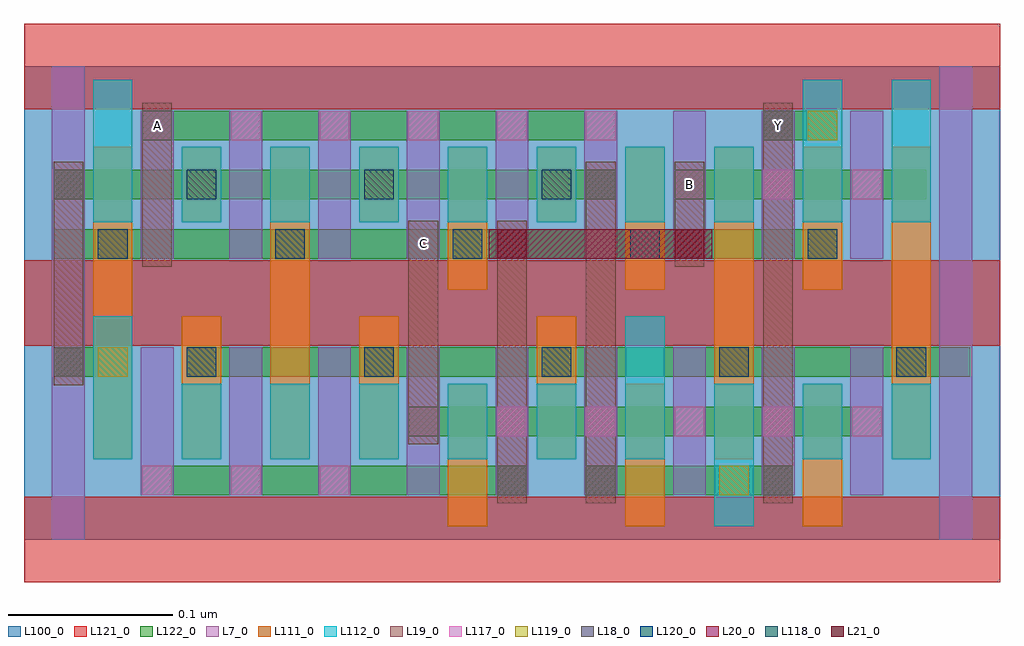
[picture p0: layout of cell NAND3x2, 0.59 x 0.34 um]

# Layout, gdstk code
import gdstk
lib = gdstk.Library(unit=1e-6, precision=2.5e-10)
def R(c, l, rs):  # rectangles x0, y0, x1, y1
    for r in rs: c.add(gdstk.rectangle(r[:2], r[2:], *l))
def A(c, l, x, y, w, h, nx, ny, dx, dy):  # array of equal rectangles
    R(c, l, [(x+i*dx, y+j*dy, x+i*dx+w, y+j*dy+h) for i in range(nx) for j in range(ny)])
L7_0 = (7, 0)
L18_0 = (18, 0)
L19_0 = (19, 0)
L20_0 = (20, 0)
L21_0 = (21, 0)
L100_0 = (100, 0)
L111_0 = (111, 0)
L112_0 = (112, 0)
L117_0 = (117, 0)
L118_0 = (118, 0)
L119_0 = (119, 0)
L120_0 = (120, 0)
L121_0 = (121, 0)
L122_0 = (122, 0)

nand3x2 = lib.new_cell('NAND3x2')
A(nand3x2, L7_0, 0.071, 0.027, 0.02, 0.09, 9, 2, 0.054, 0.144)
R(nand3x2, L7_0, [(0.017,0,0.037,0.144), (0.557,0,0.577,0.144), (0.017,0.144,0.037,0.288), (0.557,0.144,0.577,0.288)])
R(nand3x2, L18_0, [(0.288,0.027,0.306,0.045), (0.342,0.027,0.36,0.045), (0.45,0.027,0.468,0.045), (0.234,0.063,0.252,0.081), (0.018,0.099,0.036,0.117), (0.018,0.207,0.036,0.225), (0.342,0.207,0.36,0.225), (0.396,0.207,0.414,0.225), (0.072,0.243,0.09,0.261), (0.45,0.243,0.468,0.261)])
R(nand3x2, L19_0, [(0.288,0.022,0.306,0.194), (0.342,0.022,0.36,0.23), (0.45,0.022,0.468,0.266), (0.234,0.058,0.252,0.194), (0.018,0.094,0.036,0.23), (0.072,0.166,0.09,0.266), (0.396,0.166,0.414,0.23)])
R(nand3x2, L20_0, [(0.283,0.171,0.419,0.189)])
R(nand3x2, L21_0, [(0.288,0.171,0.306,0.189), (0.396,0.171,0.414,0.189)])
R(nand3x2, L100_0, [(0,0,0.594,0.288)])
A(nand3x2, L111_0, 0.258, 0.008, 0.024, 0.087, 3, 2, 0.108, 0.144)
A(nand3x2, L111_0, 0.096, 0.049, 0.024, 0.087, 3, 1, 0.108, 0)
A(nand3x2, L111_0, 0.096, 0.193, 0.024, 0.046, 3, 1, 0.108, 0)
R(nand3x2, L111_0, [(0.042,0.049,0.066,0.144), (0.15,0.049,0.174,0.144), (0.42,0.049,0.444,0.144), (0.528,0.049,0.552,0.144), (0.042,0.144,0.066,0.239), (0.15,0.144,0.174,0.239), (0.42,0.144,0.444,0.239), (0.528,0.144,0.552,0.239)])
A(nand3x2, L112_0, 0.096, 0.049, 0.024, 0.046, 5, 1, 0.054, 0)
A(nand3x2, L112_0, 0.096, 0.193, 0.024, 0.046, 7, 1, 0.054, 0)
R(nand3x2, L112_0, [(0.42,0.008,0.444,0.095), (0.042,0.049,0.066,0.136), (0.366,0.049,0.39,0.136), (0.474,0.049,0.498,0.095), (0.528,0.049,0.552,0.095), (0.042,0.193,0.066,0.28), (0.474,0.193,0.498,0.28), (0.528,0.193,0.552,0.28)])
A(nand3x2, L117_0, 0.072, 0.027, 0.018, 0.018, 3, 1, 0.054, 0)
A(nand3x2, L117_0, 0.234, 0.063, 0.018, 0.018, 6, 1, 0.054, 0)
A(nand3x2, L117_0, 0.396, 0.207, 0.018, 0.018, 3, 1, 0.054, 0)
A(nand3x2, L117_0, 0.072, 0.243, 0.018, 0.018, 6, 1, 0.054, 0)
R(nand3x2, L118_0, [(0.423,0.099,0.441,0.117), (0.045,0.171,0.063,0.189), (0.477,0.171,0.495,0.189)])
A(nand3x2, L119_0, 0.099, 0.099, 0.018, 0.018, 3, 2, 0.108, 0.108)
A(nand3x2, L119_0, 0.153, 0.171, 0.018, 0.018, 3, 1, 0.108, 0)
R(nand3x2, L119_0, [(0.423,0.027,0.441,0.045), (0.045,0.099,0.063,0.117), (0.531,0.099,0.549,0.117), (0.477,0.243,0.495,0.261)])
A(nand3x2, L120_0, 0.099, 0.099, 0.018, 0.018, 3, 2, 0.108, 0.108)
A(nand3x2, L120_0, 0.153, 0.171, 0.018, 0.018, 3, 1, 0.108, 0)
R(nand3x2, L120_0, [(0.531,0.099,0.549,0.117)])
A(nand3x2, L121_0, 0, -0.026, 0.594, 0.052, 1, 3, 0, 0.144)
R(nand3x2, L122_0, [(0.072,0.027,0.306,0.045), (0.342,0.027,0.468,0.045), (0.234,0.063,0.522,0.081), (0.018,0.099,0.063,0.117), (0.099,0.099,0.576,0.117), (0.018,0.171,0.495,0.189), (0.018,0.207,0.36,0.225), (0.396,0.207,0.549,0.225), (0.072,0.243,0.36,0.261), (0.45,0.243,0.495,0.261)])
nand3x2.add(gdstk.Label('Y', (0.459,0.252), layer=19, texttype=251))
nand3x2.add(gdstk.Label('C', (0.243,0.18), layer=19, texttype=251))
nand3x2.add(gdstk.Label('B', (0.405,0.216), layer=19, texttype=251))
nand3x2.add(gdstk.Label('A', (0.081,0.252), layer=19, texttype=251))

lib.write_gds('NAND3x2.gds')
